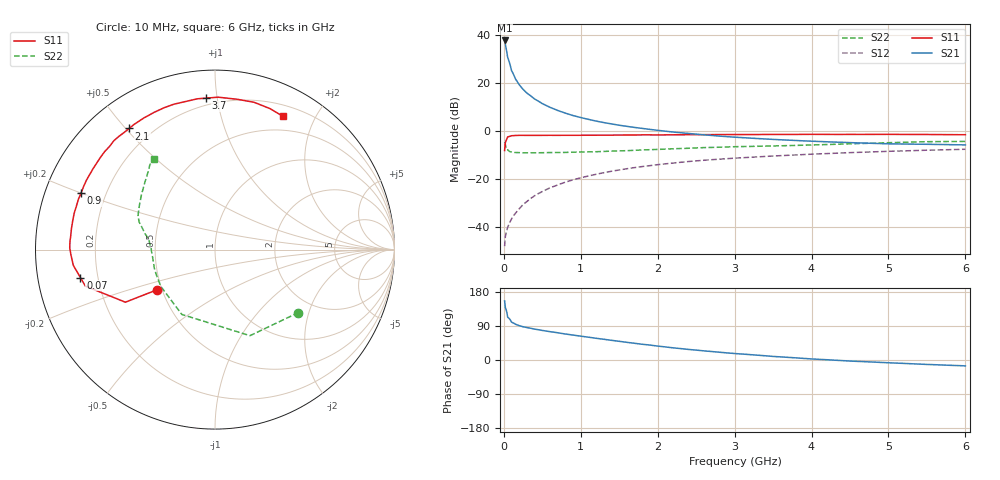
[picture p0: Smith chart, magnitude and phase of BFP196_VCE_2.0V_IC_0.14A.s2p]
! Infineon Technologies  Discrete & RF Semiconductors
! BFP196
! VCE =  2.0 V,  IC = 0.14 A
! Common Emitter S-Parameters:  Jan 2017
# GHz  S  MA  R  50
!  f  S11  S21  S12  S22
! GHz  MAG  ANG  MAG  ANG  MAG  ANG  MAG  ANG
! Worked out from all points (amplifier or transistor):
!   77 points, 10 MHz to 6 GHz, reference 50 ohm
!   highest |S21| = 37.6 dB at 10 MHz (marker M1)
!   |S21| within 3 dB of that: start of sweep to 28.1 MHz
!   unconditionally stable (mu >= 1): 174.9 MHz to end of sweep
!   at 130 MHz: K = 0.93, MSG = 29.2 dB, |S12| = -35.1 dB
!   at 2.2 GHz: K = 1.05, MAG = 5.1 dB, |S12| = -13.4 dB
!   at 6 GHz: K = 1.03, MAG = -0.1 dB, |S12| = -7.6 dB
!   S11 on the Smith chart (normalised r, x): 10 MHz: 0.47, -0.25; 70 MHz: 0.13, -0.10; 900 MHz: 0.11, +0.20; 2.1 GHz: 0.12, +0.51; 3.7 GHz: 0.16, +0.93; 6 GHz: 0.32, +1.58
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0.01  0.3911 -145.2  76.24 155.9  0.004 65.1  0.5825 -37.0
0.02  0.5792 -149.6  62.61 138.0  0.0064 59.4  0.5176 -67.9
0.05  0.7506 -164.3  33.74 112.8  0.0099 53.3  0.4057 -117.1
0.07  0.7656 -168.2  27.31 109.4  0.0118 56.6  0.3781 -127.8
0.1  0.7944 -173.7  18 99.8  0.0147 59.9  0.365 -145.7
0.15  0.8033 -178.0  12.17 94.4  0.0193 63.6  0.3555 -157.3
0.2  0.8094 179.3  9.158 90.6  0.024 67.9  0.3535 -163.5
0.25  0.8094 176.8  7.332 87.7  0.0294 68.4  0.3503 -167.2
0.3  0.8075 174.9  6.116 85.6  0.034 71.0  0.3501 -170.4
0.4  0.8084 171.6  4.613 81.5  0.0448 72.0  0.3505 -174.0
0.5  0.8089 168.4  3.696 78.0  0.0548 71.7  0.352 -176.7
0.6  0.8104 165.4  3.099 74.8  0.0655 70.7  0.3548 -178.9
0.7  0.8092 162.9  2.666 71.9  0.0751 70.5  0.3552 179.3
0.9  0.8102 157.1  2.088 65.8  0.096 68.1  0.3609 176.6
1.1  0.8141 151.6  1.739 60.2  0.1156 65.8  0.3672 173.9
1.5  0.8196 141.0  1.313 49.3  0.1541 59.8  0.3844 169.5
2.1  0.8274 125.3  0.988 34.5  0.2065 50.2  0.4186 164.1
3.1  0.8409 104.0  0.725 15.7  0.2768 35.3  0.4725 154.7
3.7  0.8453 93.5  0.643 6.9  0.3112 27.7  0.4951 147.4
4.1  0.8477 87.3  0.603 1.7  0.3327 22.6  0.5152 142.1
5.1  0.847 73.8  0.536 -8.2  0.3801 10.6  0.5743 130.3
6  0.8339 63.1  0.512 -15.5  0.4156 0.6  0.6055 123.9
